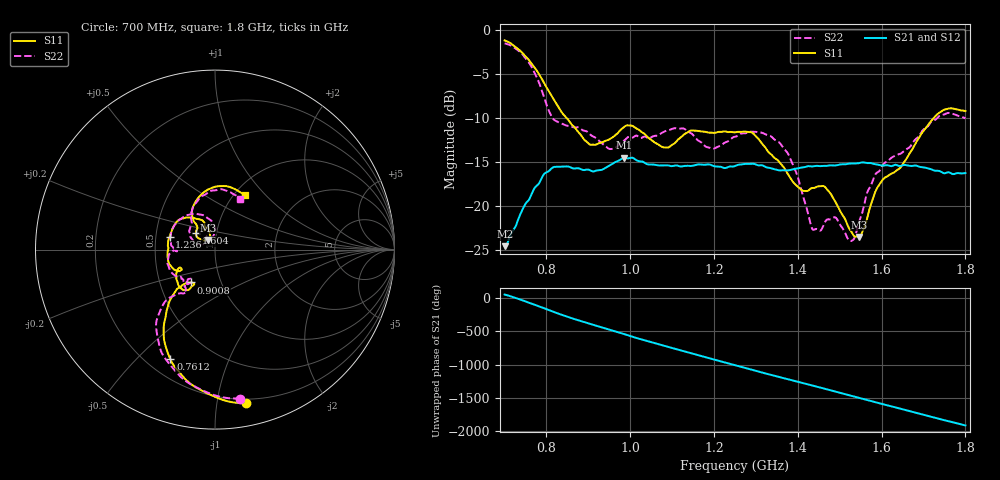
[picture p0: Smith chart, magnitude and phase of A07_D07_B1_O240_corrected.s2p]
! Created with skrf 1.9.0 (http://scikit-rf.org).
# Hz S RI R 50.0
!freq ReS11 ImS11 ReS21 ImS21 ReS12 ImS12 ReS22 ImS22
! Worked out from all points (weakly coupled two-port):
!   1601 points, 700 MHz to 1.8 GHz, reference 50 ohm
!   highest |S21| = -14.51 dB at 985.3 MHz (marker M1); lowest = -24.6 dB at 700.7 MHz (marker M2)
!   lowest |S11| = -23.6 dB at 1.547 GHz (marker M3), VSWR 1.14, Z = 46.1 + j5.03 ohm
!   |S11| at or under -10 dB: 848.4 MHz to 1.724 GHz (876 MHz wide, 68.1 % of centre)
!   |S22| runs from -24.0 to -1.5 dB; largest |S21 - S12| = 0.0036
!   S11 on the Smith chart (normalised r, x): 700 MHz: 0.17, -1.21; 761.2 MHz: 0.29, -0.63; 900.8 MHz: 0.72, -0.28; 1.236 GHz: 0.59, +0.09; 1.604 GHz: 0.79, +0.15; 1.8 GHz: 1.12, +0.77
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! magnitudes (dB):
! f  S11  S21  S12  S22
! 700 MHz  -1.2  -24.6  -24.4  -1.5
! 700.7 MHz  -1.2  -24.6  -24.3  -1.5
! 761.2 MHz  -3.6  -19.0  -18.9  -3.9
! 815.5 MHz  -7.7  -15.6  -15.7  -10.1
! 883.6 MHz  -12.0  -15.9  -15.8  -11.3
! 900.8 MHz  -12.9  -15.9  -15.9  -11.7
! 951.6 MHz  -12.4  -15.4  -15.4  -13.5
! 985.3 MHz  -11.0  -14.5  -14.6  -12.6
! 1.067 GHz  -13.0  -15.4  -15.3  -11.9
! 1.236 GHz  -11.6  -15.5  -15.6  -12.6
! 1.25 GHz  -11.6  -15.5  -15.4  -12.1
! 1.292 GHz  -11.7  -15.2  -15.2  -11.6
! 1.358 GHz  -15.1  -16.0  -15.9  -12.9
! 1.396 GHz  -17.6  -15.8  -15.8  -16.2
! 1.434 GHz  -18.0  -15.5  -15.5  -22.5
! 1.489 GHz  -19.5  -15.4  -15.4  -21.3
! 1.527 GHz  -22.9  -15.2  -15.2  -24.0
! 1.547 GHz  -23.6  -15.1  -15.1  -21.7
! 1.604 GHz  -17.0  -15.4  -15.4  -15.3
! 1.617 GHz  -16.5  -15.4  -15.4  -14.8
! 1.735 GHz  -9.5  -16.0  -16.1  -9.9
! 1.8 GHz  -9.2  -16.3  -16.3  -10.1
